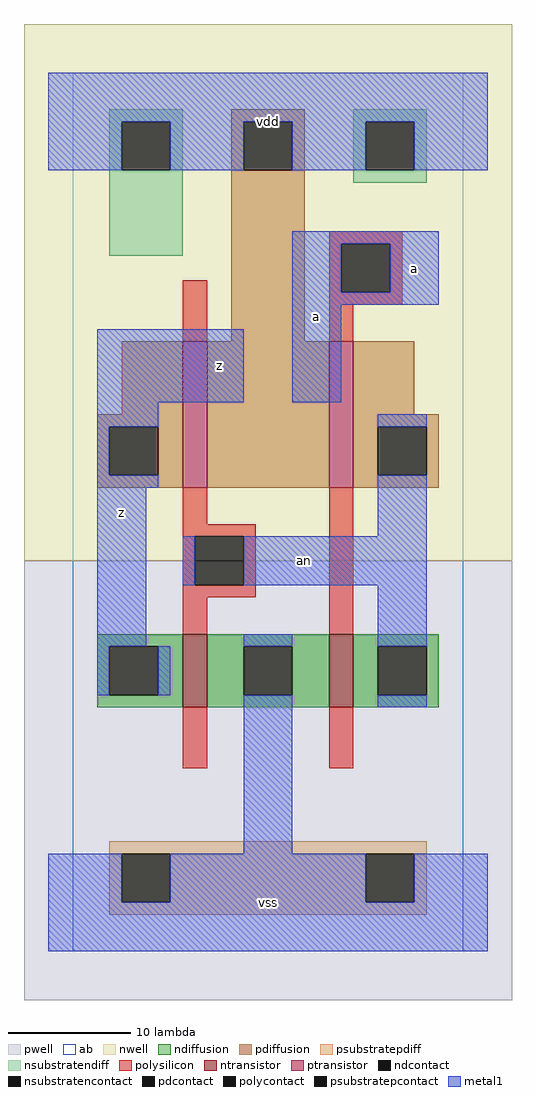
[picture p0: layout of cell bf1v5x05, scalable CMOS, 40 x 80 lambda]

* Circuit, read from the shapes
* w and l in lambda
.subckt bf1v5x05 a an vdd vss z
M1 vss an z vss nfet w=6 l=2
M2 an a vss vss nfet w=6 l=2
M3 vdd an z vdd pfet w=12 l=2
M4 an a vdd vdd pfet w=12 l=2
.ends

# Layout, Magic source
magic
tech scmos
<< ab >>
rect 0 0 32 72
<< pwell >>
rect -4 -4 36 32
<< nwell >>
rect -4 32 36 76
<< polysilicon >>
rect 9 50 11 55
rect 21 58 27 59
rect 21 54 22 58
rect 26 54 27 58
rect 21 53 27 54
rect 21 50 23 53
rect 9 35 11 38
rect 9 34 15 35
rect 9 30 10 34
rect 14 30 15 34
rect 9 29 15 30
rect 9 26 11 29
rect 21 26 23 38
rect 9 15 11 20
rect 21 15 23 20
<< ndiffusion >>
rect 2 25 9 26
rect 2 21 3 25
rect 7 21 9 25
rect 2 20 9 21
rect 11 25 21 26
rect 11 21 14 25
rect 18 21 21 25
rect 11 20 21 21
rect 23 25 30 26
rect 23 21 25 25
rect 29 21 30 25
rect 23 20 30 21
<< pdiffusion >>
rect 13 68 19 69
rect 13 64 14 68
rect 18 64 19 68
rect 13 50 19 64
rect 4 44 9 50
rect 2 43 9 44
rect 2 39 3 43
rect 7 39 9 43
rect 2 38 9 39
rect 11 38 21 50
rect 23 44 28 50
rect 23 43 30 44
rect 23 39 25 43
rect 29 39 30 43
rect 23 38 30 39
<< metal1 >>
rect -2 68 34 72
rect -2 64 4 68
rect 8 64 14 68
rect 18 64 24 68
rect 28 64 34 68
rect 18 58 30 59
rect 18 54 22 58
rect 26 54 30 58
rect 18 53 30 54
rect 2 45 14 51
rect 18 45 22 53
rect 2 43 7 45
rect 2 39 3 43
rect 2 38 7 39
rect 25 43 29 44
rect 2 25 6 38
rect 25 34 29 39
rect 9 30 10 34
rect 14 30 29 34
rect 14 25 18 26
rect 2 21 3 25
rect 7 21 8 25
rect 14 8 18 21
rect 25 25 29 30
rect 25 20 29 21
rect -2 4 4 8
rect 8 4 24 8
rect 28 4 34 8
rect -2 0 34 4
<< ntransistor >>
rect 9 20 11 26
rect 21 20 23 26
<< ptransistor >>
rect 9 38 11 50
rect 21 38 23 50
<< polycontact >>
rect 22 54 26 58
rect 10 30 14 34
<< ndcontact >>
rect 3 21 7 25
rect 14 21 18 25
rect 25 21 29 25
<< pdcontact >>
rect 14 64 18 68
rect 3 39 7 43
rect 25 39 29 43
<< psubstratepcontact >>
rect 4 4 8 8
rect 24 4 28 8
<< nsubstratencontact >>
rect 4 64 8 68
rect 24 64 28 68
<< psubstratepdiff >>
rect 3 8 29 9
rect 3 4 4 8
rect 8 4 24 8
rect 28 4 29 8
rect 3 3 29 4
<< nsubstratendiff >>
rect 3 68 9 69
rect 3 64 4 68
rect 8 64 9 68
rect 3 57 9 64
rect 23 68 29 69
rect 23 64 24 68
rect 28 64 29 68
rect 23 63 29 64
<< labels >>
rlabel metal1 4 36 4 36 6 z
rlabel metal1 12 48 12 48 6 z
rlabel metal1 16 4 16 4 6 vss
rlabel metal1 20 52 20 52 6 a
rlabel metal1 16 68 16 68 6 vdd
rlabel metal1 19 32 19 32 6 an
rlabel metal1 28 56 28 56 6 a
<< end >>
